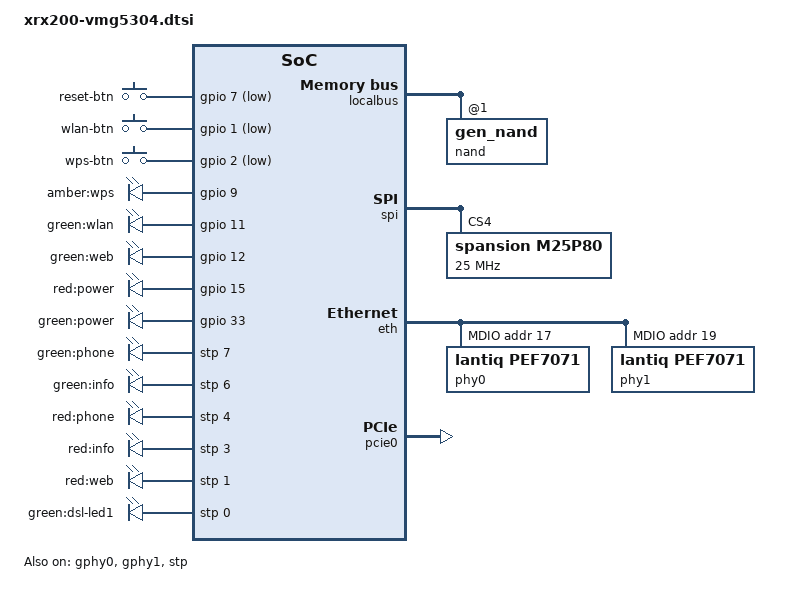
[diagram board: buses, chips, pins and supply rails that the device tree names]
// SPDX-License-Identifier: GPL-2.0
/*
 * Copyright (C) 2014-2019 Sphairon GmbH (a Zyxel company)
 */

#include <dt-bindings/gpio/gpio.h>
#include "xrx200.dtsi"

/ {
	gpio-keys-polled {
		compatible = "gpio-keys-polled";
		#address-cells = <1>;
		#size-cells = <0>;
		poll-interval = <100>;

		pinctrl-names = "default";
		pinctrl-0 = <&pins_gpio_keys_default>;

		reset {
			label = "reset-btn";
			gpios = <&gpio 7 GPIO_ACTIVE_LOW>;
			linux,code = <0x100>;	/* BTN_0 */
		};
		wlan {
			label = "wlan-btn";
			gpios = <&gpio 1 GPIO_ACTIVE_LOW>;
			linux,code = <0x101>;	/* BTN_1 */
		};
		wps {
			label = "wps-btn";
			gpios = <&gpio 2 GPIO_ACTIVE_LOW>;
			linux,code = <0x102>;	/* BTN_2 */
		};
	};

	gpio-leds {
		compatible = "gpio-leds";

		pinctrl-names = "default";
		pinctrl-0 = <&pins_gpio_leds_default>;

		wps_amber {
			label = "amber:wps";
			gpios = <&gpio 9 GPIO_ACTIVE_HIGH>;
			default-state = "off";
		};
		wlan_green {
			label = "green:wlan";
			gpios = <&gpio 11 GPIO_ACTIVE_HIGH>;
			default-state = "off";
		};
		web_green {
			label = "green:web";
			gpios = <&gpio 12 GPIO_ACTIVE_HIGH>;
			default-state = "off";
		};
		power_red {
			label = "red:power";
			gpios = <&gpio 15 GPIO_ACTIVE_HIGH>;
			default-state = "off";
		};
		power_green {
			label = "green:power";
			gpios = <&gpio 33 GPIO_ACTIVE_HIGH>;
			default-state = "off";
		};
		phone_green {
			label = "green:phone";
			gpios = <&stp 7 GPIO_ACTIVE_HIGH>;
			default-state = "off";
		};
		info_green {
			label = "green:info";
			gpios = <&stp 6 GPIO_ACTIVE_HIGH>;
			default-state = "off";
		};
		phone_red {
			label = "red:phone";
			gpios = <&stp 4 GPIO_ACTIVE_HIGH>;
			default-state = "off";
		};
		info_red {
			label = "red:info";
			gpios = <&stp 3 GPIO_ACTIVE_HIGH>;
			default-state = "off";
		};
		web_red {
			label = "red:web";
			gpios = <&stp 1 GPIO_ACTIVE_HIGH>;
			default-state = "off";
		};
		dsl_green {
			label = "green:dsl-led1";
			gpios = <&stp 0 GPIO_ACTIVE_HIGH>;
			default-state = "off";
		};
	};

	sph_platform {
		#address-cells = <1>;
		#size-cells = <0>;
		compatible = "sphairon,platform";
	};
};

&mps {
	pinctrl-names = "default", "master", "slave";
	pinctrl-0 = <&pins_tdm_default &pins_ssio_default>;
	pinctrl-1 = <&pins_tdm_master>;
	pinctrl-2 = <&pins_tdm_slave>;

	lantiq,slic-reset = <&gpio 31 GPIO_ACTIVE_HIGH>;
};

&localbus {
	nand@1 {
		compatible = "gen_nand", "lantiq,nand-xway";
		reg = <1 0x0 0x2000000>;
		linux,mtd-name = "nand-xway";
		bbt-use-flash;
		bank-width = <2>;
		lantiq,cs = <1>;
		pinctrl-names = "default";
		pinctrl-0 = <&pins_nand_default>;
	};
};

&spi {
	pinctrl-names = "default";
	pinctrl-0 = <&pins_spi_default>;

	status = "ok";

	m25p80@4 {
		#address-cells = <1>;
		#size-cells = <1>;
		compatible = "spansion,m25p80";
		reg = <4>;
		spi-max-frequency = <25000000>;
	};
};

&gpio {
	pinctrl-names = "default";
	pinctrl-0 = <&pins_default>;

	pins_default: pins_default {
	};

	pins_pcie_default: pins_pcie_default {
		pcie_reset {
			lantiq,pins = "io38";
			lantiq,output = <1>;
			lantiq,open-drain = <1>;
		};
		pcie_clkreq {
			lantiq,pins = "io0";
			lantiq,output = <0>;
		};
	};

	pins_gpio_keys_default: pins_gpio_keys_default {
		gpio_in {
			lantiq,pins = "io1", "io2", "io7";
			lantiq,output = <1>;
		};
	};

	pins_gpio_leds_default: pins_gpio_leds_default {
		gpio_high_active {
			lantiq,pins = "io9", "io11", "io12",
					"io15", "io33";
			lantiq,output = <1>;
		};
	};

	pins_nand_default: pins_nand_default {
		nand_out {
			lantiq,groups = "ebu cs1", "nand cle",
					"nand ale", "nand rd";
			lantiq,function = "ebu";
			lantiq,output = <1>;
		};
		nand_in {
			lantiq,groups = "nand rdy";
			lantiq,function = "ebu";
			lantiq,output = <0>;
		};
	};

	pins_spi_default: pins_spi_default {
		spi_in {
			lantiq,groups = "spi_din";
			lantiq,function = "spi";
			lantiq,output = <0>;
		};
		spi_out {
			lantiq,groups = "spi_dout", "spi_clk",
					"spi_cs4";
			lantiq,function = "spi";
			lantiq,output = <1>;
			lantiq,open-drain = <0>;
		};
	};

	pins_stp_default: pins_stp_default {
		stp {
			lantiq,groups = "stp";
			lantiq,function = "stp";
			lantiq,output = <1>;
		};
	};

	pins_tdm_default: pins_tdm_default {
		tdm_clock {
			lantiq,groups = "tdm fsc", "tdm dcl";
			lantiq,function = "gpio";
			lantiq,pull = <2>;
			lantiq,open-drain = <0>;
			lantiq,output = <0>;
		};
		tdm_data {
			lantiq,groups = "tdm di", "tdm do";
			lantiq,function = "gpio";
			lantiq,pull = <2>;
			lantiq,open-drain = <0>;
			lantiq,output = <0>;
		};
	};

	pins_tdm_master: pins_tdm_master {
		tdm_clock {
			lantiq,groups = "tdm fsc", "tdm dcl";
			lantiq,function = "tdm";
			lantiq,pull = <0>;
			lantiq,open-drain = <0>;
			lantiq,output = <1>;
		};
		tdm_di {
			lantiq,groups = "tdm di";
			lantiq,function = "tdm";
			lantiq,pull = <2>;
			lantiq,open-drain = <0>;
			lantiq,output = <0>;
		};
		tdm_do {
			lantiq,groups = "tdm do";
			lantiq,function = "tdm";
			lantiq,pull = <0>;
			lantiq,open-drain = <0>;
			lantiq,output = <1>;
		};
	};

	pins_tdm_slave: pins_tdm_slave {
		tdm_clock {
			lantiq,groups = "tdm fsc", "tdm dcl";
			lantiq,function = "tdm";
			lantiq,pull = <2>;
			lantiq,open-drain = <0>;
			lantiq,output = <0>;
		};
		tdm_di {
			lantiq,groups = "tdm di";
			lantiq,function = "tdm";
			lantiq,pull = <2>;
			lantiq,open-drain = <0>;
			lantiq,output = <0>;
		};
		tdm_do {
			lantiq,groups = "tdm do";
			lantiq,function = "tdm";
			lantiq,pull = <0>;
			lantiq,open-drain = <0>;
			lantiq,output = <1>;
		};
	};

	pins_ssio_default: pins_ssio_default {
		ssio_out {
			lantiq,groups = "ssio tx";
			lantiq,function = "ssio";
			lantiq,output = <1>;
		};
		ssio_in {
			lantiq,groups = "ssio rx", "ssio clk";
			lantiq,function = "ssio";
			lantiq,output = <0>;
		};
		clk {
			lantiq,groups = "clkout0";
			lantiq,function = "cgu";
			lantiq,output = <1>;
		};
		slic_reset {
			lantiq,pins = "io31";
			lantiq,pull = <0>;
			lantiq,open-drain = <0>;
			lantiq,output = <1>;
			lantiq,drive = <1>;
		};
	};
};

#if !defined(IS_UGW_61)
&gphy0 {
	lantiq,phy-mode = "11g";
	status = "ok";
};

&gphy1 {
	lantiq,phy-mode = "11g";
	status = "ok";
};
#endif

&eth {
#if defined(IS_UGW_61)
	gphy@0 {
		lantiq,phy-mode = "11g";
		status = "ok";
	};

	gphy@1 {
		lantiq,phy-mode = "11g";
		status = "ok";
	};
#endif

	mdio@0 {
		phy0: ethernet-phy@11 {
			compatible = "lantiq,pef7071", "ethernet-phy-ieee802.3-c22";
			/*interrupt-parent = <&icu0>;
			interrupts = <122>;*/
			reg = <0x11>;
			lantiq,led0 = <0x7003>;
			lantiq,led1 = <0x0>;
			lantiq,led2 = <0x0>;
		};

		phy1: ethernet-phy@13 {
			compatible = "lantiq,pef7071", "ethernet-phy-ieee802.3-c22";
			/*interrupt-parent = <&icu0>;
			interrupts = <121>;*/
			reg = <0x13>;
			lantiq,led0 = <0x7003>;
			lantiq,led1 = <0x0>;
			lantiq,led2 = <0x0>;
		};
	};

	ethernet@2 {
		phy-handle = <&phy0>;
		phy-mode = "gmii";
		status = "ok";
		lantiq,port-name = "sw-p2-lan2";
		lantiq,wanoe;
	};

	ethernet@4 {
		phy-handle = <&phy1>;
		phy-mode = "gmii";
		status = "ok";
		lantiq,port-name = "sw-p4-lan1";
	};
};

&stp {
	pinctrl-names = "default";
	pinctrl-0 = <&pins_stp_default>;

	status = "ok";

	lantiq,shadow = <0x0>;
	lantiq,groups = <0x1>;
	lantiq,speed = <0x8>;
	lantiq,phy1 = <0x1>;
	lantiq,phy2 = <0x1>;
};

&pcie0 {
	pinctrl-names = "default";
	pinctrl-0 = <&pins_pcie_default>;

	status = "ok";
	lantiq,reset-gpio = <&gpio 38 GPIO_ACTIVE_LOW>;
	lantiq,rst-interval = <200>;
	lantiq,inbound-swap = <1>;
	lantiq,outbound-swap = <1>;
	lantiq,phy-mode = <1>;
};
